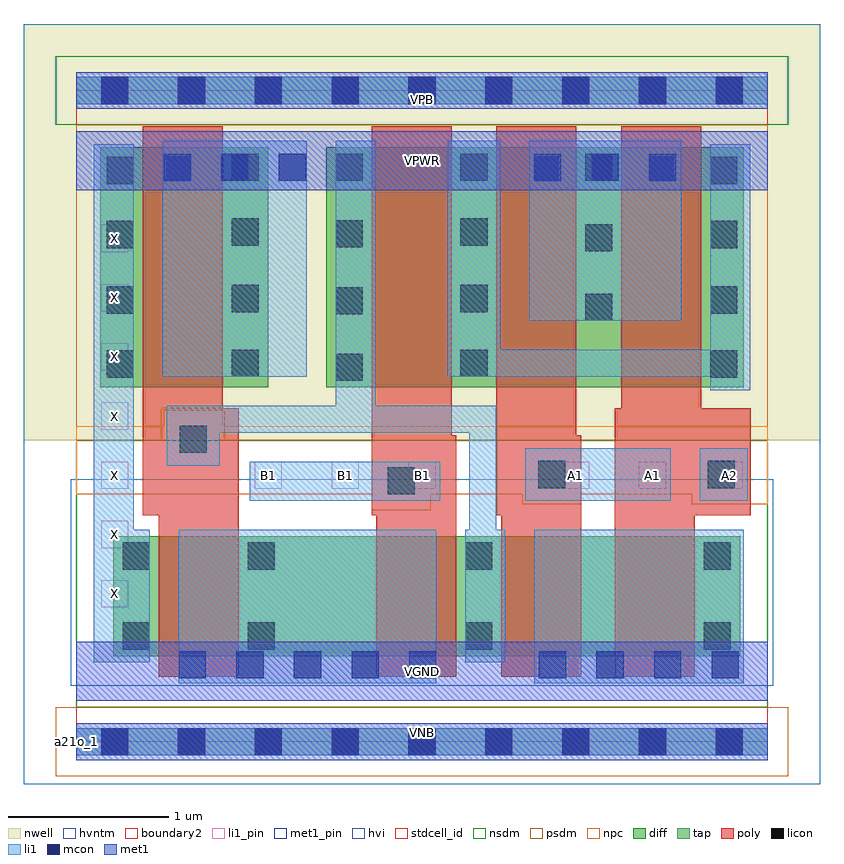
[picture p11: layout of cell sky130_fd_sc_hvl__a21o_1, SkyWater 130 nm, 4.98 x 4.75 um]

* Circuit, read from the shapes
.subckt sky130_fd_sc_hvl__a21o_1 A1 A2 B1 VGND VNB VPB VPWR X
XM1 VGND n1 X VNB sky130_fd_pr__nfet_g5v0d10v5 w=0.75 l=0.5
XM2 n1 B1 VGND VNB sky130_fd_pr__nfet_g5v0d10v5 w=0.75 l=0.5
XM3 n2 A1 n1 VNB sky130_fd_pr__nfet_g5v0d10v5 w=0.75 l=0.5
XM4 VGND A2 n2 VNB sky130_fd_pr__nfet_g5v0d10v5 w=0.75 l=0.5
XM5 VPWR n1 X VPB sky130_fd_pr__pfet_g5v0d10v5 w=1.5 l=0.5
XM6 n3 B1 n1 VPB sky130_fd_pr__pfet_g5v0d10v5 w=1.5 l=0.5
XM7 VPWR A1 n3 VPB sky130_fd_pr__pfet_g5v0d10v5 w=1.5 l=0.5
XM8 n3 A2 VPWR VPB sky130_fd_pr__pfet_g5v0d10v5 w=1.5 l=0.5
.ends

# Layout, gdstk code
import gdstk
lib = gdstk.Library(unit=1e-6, precision=1e-09)
def R(c, l, rs):  # rectangles x0, y0, x1, y1
    for r in rs: c.add(gdstk.rectangle(r[:2], r[2:], *l))
def A(c, l, x, y, w, h, nx, ny, dx, dy):  # array of equal rectangles
    R(c, l, [(x+i*dx, y+j*dy, x+i*dx+w, y+j*dy+h) for i in range(nx) for j in range(ny)])
def P(c, l, *ps):  # polygons
    for p in ps: c.add(gdstk.Polygon(p, *l))
nwell = (64, 20)
diff = (65, 20)
tap = (65, 44)
poly = (66, 20)
licon = (66, 44)
li1_pin = (67, 16)
li1 = (67, 20)
mcon = (67, 44)
met1_pin = (68, 16)
met1 = (68, 20)
hvi = (75, 20)
stdcell_id = (81, 4)
nsdm = (93, 44)
psdm = (94, 20)
npc = (95, 20)
hvntm = (125, 20)
boundary2 = (236, 0)

sky130_fd_sc_hvl__a21o_1 = lib.new_cell('sky130_fd_sc_hvl__a21o_1')
R(sky130_fd_sc_hvl__a21o_1, nwell, [(-0.33,1.885,4.65,4.485)])
R(sky130_fd_sc_hvl__a21o_1, diff, [(0.23,0.535,4.15,1.285), (0.15,2.215,1.2,3.715), (1.56,2.215,4.17,3.715)])
R(sky130_fd_sc_hvl__a21o_1, tap, [(0,-0.085,4.32,0.085), (0,3.985,4.32,4.155)])
P(sky130_fd_sc_hvl__a21o_1, poly, [(1.015,2.085),(0.915,2.085),(0.915,3.845),(0.415,3.845),(0.415,1.415),(0.515,1.415),(0.515,0.405),(1.015,0.405)],
  [(2.375,1.915),(2.345,1.915),(2.345,3.845),(1.845,3.845),(1.845,1.415),(1.875,1.415),(1.875,0.405),(2.375,0.405)],
  [(3.155,1.915),(3.125,1.915),(3.125,3.845),(2.625,3.845),(2.625,1.415),(2.655,1.415),(2.655,0.405),(3.155,0.405)],
  [(4.215,2.085),(3.905,2.085),(3.905,3.845),(3.405,3.845),(3.405,2.085),(3.365,2.085),(3.365,0.405),(3.865,0.405),(3.865,1.415),(4.215,1.415)])
A(sky130_fd_sc_hvl__a21o_1, licon, 0.155, -0.085, 0.17, 0.17, 9, 2, 0.48, 4.07)
A(sky130_fd_sc_hvl__a21o_1, licon, 1.62, 3.505, 0.17, 0.17, 3, 1, 0.78, 0)
R(sky130_fd_sc_hvl__a21o_1, licon, [(0.29,0.575,0.46,0.745), (1.07,0.575,1.24,0.745), (2.43,0.575,2.6,0.745), (3.92,0.575,4.09,0.745), (0.29,1.075,0.46,1.245), (1.07,1.075,1.24,1.245), (2.43,1.075,2.6,1.245), (3.92,1.075,4.09,1.245), (1.945,1.545,2.115,1.715), (2.885,1.585,3.055,1.755), (3.945,1.585,4.115,1.755), (0.645,1.805,0.815,1.975), (1.62,2.255,1.79,2.425), (0.19,2.275,0.36,2.445), (3.96,2.275,4.13,2.445), (0.97,2.28,1.14,2.45), (2.4,2.28,2.57,2.45), (3.18,2.63,3.35,2.8), (1.62,2.67,1.79,2.84), (0.19,2.675,0.36,2.845), (3.96,2.675,4.13,2.845), (0.97,2.685,1.14,2.855), (2.4,2.685,2.57,2.855), (3.18,3.065,3.35,3.235), (0.19,3.085,0.36,3.255), (3.96,3.085,4.13,3.255), (1.62,3.09,1.79,3.26), (0.97,3.1,1.14,3.27), (2.4,3.1,2.57,3.27), (0.19,3.485,0.36,3.655), (3.96,3.485,4.13,3.655), (0.97,3.505,1.14,3.675)])
A(sky130_fd_sc_hvl__a21o_1, li1_pin, 0.155, 0.84, 0.17, 0.17, 1, 7, 0, 0.37)
A(sky130_fd_sc_hvl__a21o_1, li1_pin, 1.115, 1.58, 0.17, 0.17, 3, 1, 0.48, 0)
A(sky130_fd_sc_hvl__a21o_1, li1_pin, 3.035, 1.58, 0.17, 0.17, 3, 1, 0.48, 0)
R(sky130_fd_sc_hvl__a21o_1, li1, [(0,-0.085,4.32,0.085), (0.64,0.365,2.25,1.325), (2.86,0.365,4.17,1.325), (1.085,1.505,2.275,1.75), (2.805,1.505,3.715,1.835), (3.895,1.505,4.195,1.835), (0.54,2.28,1.44,3.755), (2.83,2.63,3.78,3.755), (0,3.985,4.32,4.155)])
P(sky130_fd_sc_hvl__a21o_1, li1, [(0.46,1.325),(0.36,1.325),(0.36,3.735),(0.11,3.735),(0.11,0.495),(0.46,0.495)],
  [(2.68,1.325),(2.625,1.325),(2.625,2.1),(1.87,2.1),(1.87,3.755),(1.62,3.755),(1.62,2.1),(0.565,2.1),(0.565,1.725),(0.895,1.725),(0.895,1.93),(2.455,1.93),(2.455,1.325),(2.43,1.325),(2.43,0.495),(2.68,0.495)],
  [(4.21,3.735),(3.96,3.735),(3.96,2.45),(2.65,2.45),(2.65,3.755),(2.32,3.755),(2.32,2.28),(3.96,2.28),(3.96,2.195),(4.21,2.195)])
A(sky130_fd_sc_hvl__a21o_1, mcon, 0.64, 0.395, 0.17, 0.17, 5, 1, 0.36, 0)
A(sky130_fd_sc_hvl__a21o_1, mcon, 2.89, 0.395, 0.17, 0.17, 4, 1, 0.36, 0)
A(sky130_fd_sc_hvl__a21o_1, mcon, 0.545, 3.505, 0.17, 0.17, 3, 1, 0.36, 0)
A(sky130_fd_sc_hvl__a21o_1, mcon, 2.86, 3.505, 0.17, 0.17, 3, 1, 0.36, 0)
R(sky130_fd_sc_hvl__a21o_1, mcon, [(0.155,-0.085,0.325,0.085), (0.155,-0.085,0.325,0.085), (0.635,-0.085,0.805,0.085), (0.635,-0.085,0.805,0.085), (1.115,-0.085,1.285,0.085), (1.115,-0.085,1.285,0.085), (1.595,-0.085,1.765,0.085), (1.595,-0.085,1.765,0.085), (2.075,-0.085,2.245,0.085), (2.075,-0.085,2.245,0.085), (2.555,-0.085,2.725,0.085), (2.555,-0.085,2.725,0.085), (3.035,-0.085,3.205,0.085), (3.035,-0.085,3.205,0.085), (3.515,-0.085,3.685,0.085), (3.515,-0.085,3.685,0.085), (3.995,-0.085,4.165,0.085), (3.995,-0.085,4.165,0.085), (0.155,3.985,0.325,4.155), (0.155,3.985,0.325,4.155), (0.635,3.985,0.805,4.155), (0.635,3.985,0.805,4.155), (1.115,3.985,1.285,4.155), (1.115,3.985,1.285,4.155), (1.595,3.985,1.765,4.155), (1.595,3.985,1.765,4.155), (2.075,3.985,2.245,4.155), (2.075,3.985,2.245,4.155), (2.555,3.985,2.725,4.155), (2.555,3.985,2.725,4.155), (3.035,3.985,3.205,4.155), (3.035,3.985,3.205,4.155), (3.515,3.985,3.685,4.155), (3.515,3.985,3.685,4.155), (3.995,3.985,4.165,4.155), (3.995,3.985,4.165,4.155)])
R(sky130_fd_sc_hvl__a21o_1, met1_pin, [(0,0,4.32,0.115), (0,0.255,4.32,0.625), (0,3.445,4.32,3.815), (0,3.955,4.32,4.07)])
R(sky130_fd_sc_hvl__a21o_1, met1, [(0,-0.115,4.32,0.115), (0,0.255,4.32,0.625), (0,3.445,4.32,3.815), (0,3.955,4.32,4.185)])
R(sky130_fd_sc_hvl__a21o_1, hvi, [(-0.33,-0.265,4.65,4.485)])
R(sky130_fd_sc_hvl__a21o_1, stdcell_id, [(0,0,4.32,4.07)])
R(sky130_fd_sc_hvl__a21o_1, nsdm, [(0,0.215,4.32,1.885), (-0.13,3.855,4.45,4.285), (0,3.855,4.32,4.07)])
R(sky130_fd_sc_hvl__a21o_1, psdm, [(-0.13,-0.215,4.45,0.215)])
P(sky130_fd_sc_hvl__a21o_1, psdm, [(4.32,3.855),(0,3.855),(0,1.885),(0.535,1.885),(0.535,2.085),(0.925,2.085),(0.925,1.885),(4.32,1.885)])
P(sky130_fd_sc_hvl__a21o_1, npc, [(4.32,1.97),(0.915,1.97),(0.915,2.075),(0.545,2.075),(0.545,1.97),(0,1.97),(0,1.545),(1.845,1.545),(1.845,1.445),(2.215,1.445),(2.215,1.545),(2.785,1.545),(2.785,1.485),(3.155,1.485),(3.155,1.545),(3.845,1.545),(3.845,1.485),(4.32,1.485)])
R(sky130_fd_sc_hvl__a21o_1, hvntm, [(-0.035,0.35,4.355,1.64)])
R(sky130_fd_sc_hvl__a21o_1, boundary2, [(0,0,4.32,4.07)])
sky130_fd_sc_hvl__a21o_1.add(gdstk.Label('a21o_1', (0,0), layer=83, texttype=44))
sky130_fd_sc_hvl__a21o_1.add(gdstk.Label('VGND', (2.16,0.44), layer=68, texttype=5))
sky130_fd_sc_hvl__a21o_1.add(gdstk.Label('VNB', (2.16,0.058), layer=68, texttype=5))
sky130_fd_sc_hvl__a21o_1.add(gdstk.Label('VPWR', (2.16,3.63), layer=68, texttype=5))
sky130_fd_sc_hvl__a21o_1.add(gdstk.Label('VPB', (2.16,4.013), layer=68, texttype=5))
sky130_fd_sc_hvl__a21o_1.add(gdstk.Label('A1', (3.12,1.665), layer=67, texttype=5))
sky130_fd_sc_hvl__a21o_1.add(gdstk.Label('A1', (3.6,1.665), layer=67, texttype=5))
sky130_fd_sc_hvl__a21o_1.add(gdstk.Label('A2', (4.08,1.665), layer=67, texttype=5))
sky130_fd_sc_hvl__a21o_1.add(gdstk.Label('B1', (1.2,1.665), layer=67, texttype=5))
sky130_fd_sc_hvl__a21o_1.add(gdstk.Label('B1', (1.68,1.665), layer=67, texttype=5))
sky130_fd_sc_hvl__a21o_1.add(gdstk.Label('B1', (2.16,1.665), layer=67, texttype=5))
sky130_fd_sc_hvl__a21o_1.add(gdstk.Label('X', (0.24,0.925), layer=67, texttype=5))
sky130_fd_sc_hvl__a21o_1.add(gdstk.Label('X', (0.24,1.295), layer=67, texttype=5))
sky130_fd_sc_hvl__a21o_1.add(gdstk.Label('X', (0.24,1.665), layer=67, texttype=5))
sky130_fd_sc_hvl__a21o_1.add(gdstk.Label('X', (0.24,2.035), layer=67, texttype=5))
sky130_fd_sc_hvl__a21o_1.add(gdstk.Label('X', (0.24,2.405), layer=67, texttype=5))
sky130_fd_sc_hvl__a21o_1.add(gdstk.Label('X', (0.24,2.775), layer=67, texttype=5))
sky130_fd_sc_hvl__a21o_1.add(gdstk.Label('X', (0.24,3.145), layer=67, texttype=5))

lib.write_gds('sky130_fd_sc_hvl__a21o_1.gds')
